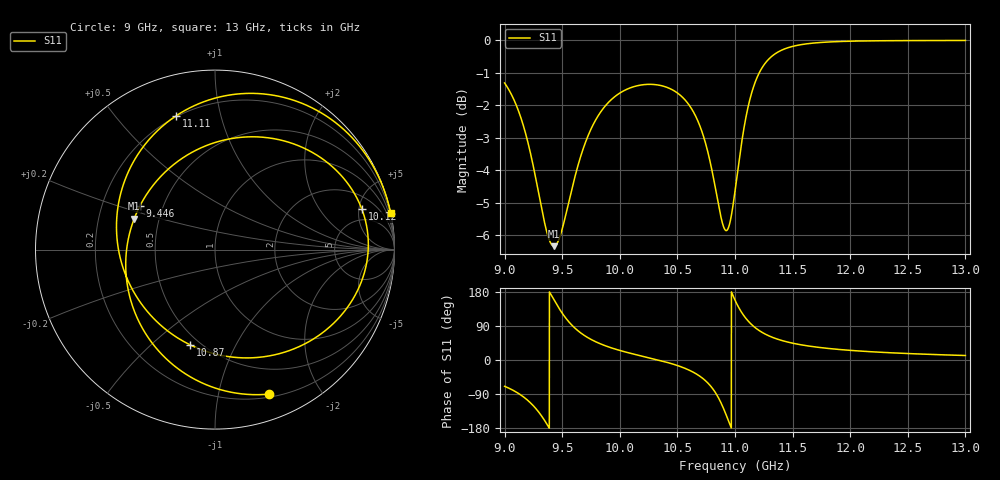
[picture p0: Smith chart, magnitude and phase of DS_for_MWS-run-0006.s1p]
! TOUCHSTONE file generated by CST DESIGN STUDIO
! Date and time: Tue Feb  4 14:37:04 2025
! Project name: C:\Work\MatlabApps\UnitCellOptimizationMatlab\CST\unitcell.cst
! Tree item: Tasks\Sweep1\SPara1\S-Parameters
! Header version: 2024
! Port assignment regex: !\s*Touchstone port\s*([0-9]+)\s*=\s*(CST MWS port|CST DES external port|CST DES block port)\s*(.+)\s* \(\"(.*)\"\)(\s*mode\s*([0-9]+))?.*
! Touchstone port assignment:
! Touchstone port 1 = CST DES external port 1 ("")
# GHz S MA R 50
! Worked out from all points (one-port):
!   4001 points, 9 GHz to 13 GHz, reference 50 ohm
!   lowest |S11| = -6.3 dB at 9.428 GHz (marker M1), VSWR 2.86, Z = 18 + j8.07 ohm
!   |S11| at or under -10 dB: nowhere
!   S11 on the Smith chart (normalised r, x): 9 GHz: 0.23, -1.42; 9.446 GHz: 0.37, +0.24; 10.12 GHz: 3.35, +5.38; 10.87 GHz: 0.44, -0.67; 11.11 GHz: 0.19, +0.73; 13 GHz: 0.01, +9.64
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9  0.8598 -69.4
9.12  0.7792 -88.2
9.215  0.6816 -110.4
9.332  0.539 -152.6
9.428  0.482 159.1
9.446  0.4841 149.7
9.5  0.5123 123.6
9.581  0.5874 92.9
9.674  0.6742 68.5
9.824  0.7712 43.6
10  0.8296 25.2
10.123  0.8488 15.4
10.325  0.854 0.5
10.5  0.8298 -14.6
10.612  0.7902 -28.2
10.703  0.7321 -44.6
10.798  0.633 -72.4
10.865  0.5483 -104.7
10.941  0.5135 -158.7
11  0.5857 158.1
11.055  0.691 126.9
11.105  0.777 106.0
11.179  0.8658 84.4
11.281  0.9308 65.6
11.5  0.9789 44.4
12  0.9971 25.4
12.5  0.9992 17.0
13  0.9997 11.8
